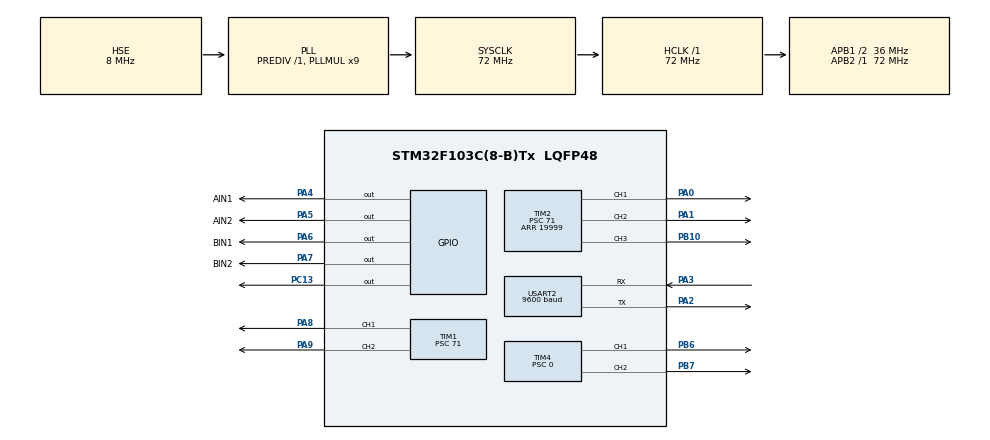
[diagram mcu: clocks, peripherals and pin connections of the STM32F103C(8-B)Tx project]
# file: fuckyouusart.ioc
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Mcu.Family=STM32F1
Mcu.Name=STM32F103C(8-B)Tx
Mcu.Package=LQFP48
NVIC.PriorityGroup=NVIC_PRIORITYGROUP_4
NVIC.USART2_IRQn=true\:0\:0\:false\:false\:true\:true\:true\:true
PA0-WKUP.Signal=S_TIM2_CH1_ETR
PA1.Signal=S_TIM2_CH2
PA13.Mode=Serial_Wire
PA13.Signal=SYS_JTMS-SWDIO
PA14.Mode=Serial_Wire
PA14.Signal=SYS_JTCK-SWCLK
PA2.Mode=Asynchronous
PA2.Signal=USART2_TX
PA3.Mode=Asynchronous
PA3.Signal=USART2_RX
PA4.GPIO_Label=AIN1
PA4.Signal=GPIO_Output
PA5.GPIO_Label=AIN2
PA5.Signal=GPIO_Output
PA6.GPIO_Label=BIN1
PA6.Signal=GPIO_Output
PA7.GPIO_Label=BIN2
PA7.Signal=GPIO_Output
PA8.Signal=S_TIM1_CH1
PA9.Signal=S_TIM1_CH2
PB10.Signal=S_TIM2_CH3
PB6.Signal=S_TIM4_CH1
PB7.Signal=S_TIM4_CH2
PC13-TAMPER-RTC.Signal=GPIO_Output
PD0-OSC_IN.Mode=HSE-External-Oscillator
PD0-OSC_IN.Signal=RCC_OSC_IN
PD1-OSC_OUT.Mode=HSE-External-Oscillator
PD1-OSC_OUT.Signal=RCC_OSC_OUT
ProjectManager.HeapSize=0x200
ProjectManager.StackSize=0x400
ProjectManager.TargetToolchain=CMake
RCC.AHBFreq_Value=72000000
RCC.APB1CLKDivider=RCC_HCLK_DIV2
RCC.APB1Freq_Value=36000000
RCC.APB1TimFreq_Value=72000000
RCC.APB2Freq_Value=72000000
RCC.APB2TimFreq_Value=72000000
RCC.HCLKFreq_Value=72000000
RCC.PLLMUL=RCC_PLL_MUL9
RCC.PLLSourceVirtual=RCC_PLLSOURCE_HSE
RCC.SYSCLKFreq_VALUE=72000000
RCC.SYSCLKSource=RCC_SYSCLKSOURCE_PLLCLK
RCC.USBFreq_Value=72000000
SH.S_TIM1_CH1.0=TIM1_CH1,PWM Generation1 CH1
SH.S_TIM1_CH2.0=TIM1_CH2,PWM Generation2 CH2
SH.S_TIM2_CH1_ETR.0=TIM2_CH1,PWM Generation1 CH1
SH.S_TIM2_CH2.0=TIM2_CH2,PWM Generation2 CH2
SH.S_TIM2_CH3.0=TIM2_CH3,PWM Generation3 CH3
SH.S_TIM4_CH1.0=TIM4_CH1,PWM Generation1 CH1
SH.S_TIM4_CH2.0=TIM4_CH2,PWM Generation2 CH2
TIM1.Channel-PWM\ Generation1\ CH1=TIM_CHANNEL_1
TIM1.Channel-PWM\ Generation2\ CH2=TIM_CHANNEL_2
TIM1.Period=19999
TIM1.Prescaler=71
TIM2.Channel-PWM\ Generation1\ CH1=TIM_CHANNEL_1
TIM2.Channel-PWM\ Generation2\ CH2=TIM_CHANNEL_2
TIM2.Channel-PWM\ Generation3\ CH3=TIM_CHANNEL_3
TIM2.Period=19999
TIM2.Prescaler=71
TIM4.Channel-PWM\ Generation1\ CH1=TIM_CHANNEL_1
TIM4.Channel-PWM\ Generation2\ CH2=TIM_CHANNEL_2
TIM4.Period=7199
TIM4.Prescaler=0
USART2.BaudRate=9600
USART2.VirtualMode=VM_ASYNC
VP_TIM1_VS_ClockSourceINT.Mode=Internal
VP_TIM2_VS_ClockSourceINT.Mode=Internal
VP_TIM4_VS_ClockSourceINT.Mode=Internal
board=custom

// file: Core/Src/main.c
/* USER CODE BEGIN Header */
/**
  ******************************************************************************
  * @file           : main.c
  * @brief          : Main program body
  ******************************************************************************
  * @attention
  *
  * Copyright (c) 2026 STMicroelectronics.
  * All rights reserved.
  *
  * This software is licensed under terms that can be found in the LICENSE file
  * in the root directory of this software component.
  * If no LICENSE file comes with this software, it is provided AS-IS.
  *
  ******************************************************************************
  */
/* USER CODE END Header */
#include "main.h"
#include "tim.h"
#include "usart.h"
#include "gpio.h"

/* USER CODE BEGIN PV */

#include <stdio.h>
#include <string.h>

#include "servotext_boteer.h"   // 你的舵机头文件
#include "servotext_boteer.c"
#include "motortext_boteer.h"

#define RX_RING_SIZE 128                // 环形缓冲区大小
uint8_t rx_ring[RX_RING_SIZE];          // 环形缓冲区
volatile uint16_t rx_ring_head = 0;      // 写指针（中断中更新）
volatile uint16_t rx_ring_tail = 0;      // 读指针（主循环中更新）
uint8_t rx_byte;                         // 单字节接收缓存（用于中断）

//原有的 rx_buffer 现在用作行缓冲区，不再直接参与接收，rx_index 和 rx_complete_flag 继续保留，用法不变
#define RX_BUFFER_SIZE  64      // 接收缓冲区大小
uint8_t rx_buffer[RX_BUFFER_SIZE];      // 串口接收缓冲区
uint8_t rx_index = 0;                  // 当前接收位置
uint8_t rx_complete_flag = 0;          // 收到一帧完成标志

ServoMotor servo1;    //TIM1 CH1  引脚PA8
ServoMotor servo2;    //TIM1 CH2  引脚PA9
ServoMotor servo3;    //TIM2 CH1  引脚PA0
ServoMotor servo4;    //TIM2 CH2  引脚PA1
ServoMotor servo5;    //TIM2 CH3  引脚PB10

Motor my_motor;

#ifdef __GNUC__
#define PUTCHAR_PROTOTYPE int __io_putchar(int ch)
#else
#define PUTCHAR_PROTOTYPE int fputc(int ch, FILE *f)
#endif
PUTCHAR_PROTOTYPE {
  HAL_UART_Transmit(&huart2, (uint8_t *)&ch, 1, HAL_MAX_DELAY);
  return ch;
}

/* USER CODE END PV */

void SystemClock_Config(void);

/* USER CODE BEGIN 0 */

//改版添加了行提取函数
static uint8_t GetLineFromRing(char *line_buf, uint16_t max_len)
{
  static uint16_t idx = 0;  // 当前行缓冲区索引

  while (rx_ring_tail != rx_ring_head)
  {
    uint8_t ch = rx_ring[rx_ring_tail];
    rx_ring_tail = (rx_ring_tail + 1) % RX_RING_SIZE;

    // 遇到换行符或缓冲区满，认为一行结束
    if (ch == '\n' || ch == '\r' || idx >= max_len - 1)
    {
      // 忽略空行（只有换行符）
      if (idx == 0)
      {
        continue;
      }
      line_buf[idx] = '\0';  // 字符串结束
      idx = 0;
      return 1;  // 一行就绪
    }
    else
    {
      line_buf[idx++] = ch;  // 存入行缓冲区
    }
  }
  return 0;  // 没有完整行
}

void Parse_Command(char *cmd, uint16_t len)
{
  // 去除末尾换行
  if (len > 0 && (cmd[len-1] == '\n' || cmd[len-1] == '\r')) cmd[len-1] = '\0';
  if (len > 1 && cmd[len-2] == '\r') cmd[len-2] = '\0';

  printf("Received: [%s]\r\n", cmd);

  int left, right;int id, angle;
  if (sscanf(cmd, "#M%d,%d", &left, &right) == 2) {
    Motor_SetSpeed(&my_motor, (int16_t)left, (int16_t)right);
    printf("Motor set: L=%d, R=%d\r\n", left, right);
  }
   else if (sscanf(cmd, "#%d=%d", &id, &angle) == 2)
  {
    if (id >= 1 && id <= 5 && angle >= 0 && angle <= 180)
    {
      // 根据id选择对应的舵机
      switch (id)
      {
      case 1: Servo_SetAngle(&servo1, angle); break;
      case 2: Servo_SetAngle(&servo2, angle); break;
      case 3: Servo_SetAngle(&servo3, angle); break;
      case 4: Servo_SetAngle(&servo4, angle); break;
      case 5: Servo_SetAngle(&servo5, angle); break;
      default: break;
      }
      printf("OK: Servo%d set to %d\r\n", id, angle);
    }
    else
    {
      printf("Error: ID must be 1-5, angle 0-180\r\n");
    }
  }
  else
  {
    printf("Unknown command. Use #<id>=<angle> (e.g. #1=90)\r\n");
  }
}

/* USER CODE END 0 */

int main(void)
{

  /* MCU Configuration--------------------------------------------------------*/

  /* Reset of all peripherals, Initializes the Flash interface and the Systick. */
  HAL_Init();

  /* Configure the system clock */
  SystemClock_Config();

  /* Initialize all configured peripherals */
  MX_GPIO_Init();
  MX_TIM1_Init();
  MX_USART2_UART_Init();
  MX_TIM2_Init();
  MX_TIM4_Init();
  /* USER CODE BEGIN 2 */

  Servo_Init(&servo1, &htim1, TIM_CHANNEL_1);
  Servo_Init(&servo2, &htim1, TIM_CHANNEL_2);
  Servo_Init(&servo3, &htim2, TIM_CHANNEL_1);
  Servo_Init(&servo4, &htim2, TIM_CHANNEL_2);
  Servo_Init(&servo5, &htim2, TIM_CHANNEL_3);

  //Servo_SetSpeed(&my_servo, 50.0f);
  Servo_SetSpeed(&servo1, 50.0f);
  Servo_SetSpeed(&servo2, 50.0f);
  Servo_SetSpeed(&servo3, 50.0f);
  Servo_SetSpeed(&servo4, 50.0f);
  Servo_SetSpeed(&servo5, 50.0f);

  Motor_Init(&my_motor,
           &htim4, TIM_CHANNEL_1,    // 左PWM
           GPIOA, GPIO_PIN_4,         // AIN1
           GPIOA, GPIO_PIN_5,         // AIN2
           &htim4, TIM_CHANNEL_2,    // 右PWM
           GPIOA, GPIO_PIN_6,         // BIN1
           GPIOA, GPIO_PIN_7);        // BIN2

  // 设置加速度（可选，默认为2.0）
  Motor_SetAccel(&my_motor, 1.5f);

  HAL_UART_Receive_IT(&huart2, &rx_byte, 1);

  printf("System Ready. 5 servos initialized.\r\n");
  printf("\r\n====波特儿 Servo Control System====\r\n");
  printf("   等待输入指令中...............\r\n");
  printf("   输入格式:ANGLE=xxx (0-180)\r\n");
  printf(" ==========祝你调试顺利===========\r\n");

  uint32_t last_time = HAL_GetTick();
  int test_state = 0;  // 0:正转, 1:反转, 2:停止

  /* USER CODE END 2 */

  /* Infinite loop */
  /* USER CODE BEGIN WHILE */
  while (1)
  {

    Servo_Update(&servo1);
    Servo_Update(&servo2);
    Servo_Update(&servo3);
    Servo_Update(&servo4);
    Servo_Update(&servo5);

    Motor_Update(&my_motor);

    // 【新增】从环形缓冲区读取一行，存入 rx_buffer
    if (GetLineFromRing((char *)rx_buffer, RX_BUFFER_SIZE))
    {
      rx_index = strlen((char *)rx_buffer);  // 计算实际长度
      rx_complete_flag = 1;                   // 触发解析
    }

    if (rx_complete_flag)
    {
      Parse_Command((char *)rx_buffer, rx_index);

      memset(rx_buffer, 0, RX_BUFFER_SIZE);
      rx_index = 0;
      rx_complete_flag = 0;

      // 重新开启接收
      //改版部分该部分代码已被删除，接受将由环形缓冲区持续处理
      //HAL_UART_Receive_IT(&huart2, rx_buffer, 1);
    }

    /* USER CODE END WHILE */

  }
}

void SystemClock_Config(void)
{
  RCC_OscInitTypeDef RCC_OscInitStruct = {0};
  RCC_ClkInitTypeDef RCC_ClkInitStruct = {0};

  /** Initializes the RCC Oscillators according to the specified parameters
  * in the RCC_OscInitTypeDef structure.
  */
  RCC_OscInitStruct.OscillatorType = RCC_OSCILLATORTYPE_HSE;
  RCC_OscInitStruct.HSEState = RCC_HSE_ON;
  RCC_OscInitStruct.HSEPredivValue = RCC_HSE_PREDIV_DIV1;
  RCC_OscInitStruct.HSIState = RCC_HSI_ON;
  RCC_OscInitStruct.PLL.PLLState = RCC_PLL_ON;
  RCC_OscInitStruct.PLL.PLLSource = RCC_PLLSOURCE_HSE;
  RCC_OscInitStruct.PLL.PLLMUL = RCC_PLL_MUL9;
  if (HAL_RCC_OscConfig(&RCC_OscInitStruct) != HAL_OK)
  {
    Error_Handler();
  }

  /** Initializes the CPU, AHB and APB buses clocks
  */
  RCC_ClkInitStruct.ClockType = RCC_CLOCKTYPE_HCLK|RCC_CLOCKTYPE_SYSCLK
                              |RCC_CLOCKTYPE_PCLK1|RCC_CLOCKTYPE_PCLK2;
  RCC_ClkInitStruct.SYSCLKSource = RCC_SYSCLKSOURCE_PLLCLK;
  RCC_ClkInitStruct.AHBCLKDivider = RCC_SYSCLK_DIV1;
  RCC_ClkInitStruct.APB1CLKDivider = RCC_HCLK_DIV2;
  RCC_ClkInitStruct.APB2CLKDivider = RCC_HCLK_DIV1;

  if (HAL_RCC_ClockConfig(&RCC_ClkInitStruct, FLASH_LATENCY_2) != HAL_OK)
  {
    Error_Handler();
  }
}

/* USER CODE BEGIN 4 */

void HAL_UART_RxCpltCallback(UART_HandleTypeDef *huart)
{
  if (huart->Instance == USART2)
  {
    // 将字节存入环形缓冲区（如果未满）
    uint16_t next_head = (rx_ring_head + 1) % RX_RING_SIZE;
    if (next_head != rx_ring_tail)
    {
      rx_ring[rx_ring_head] = rx_byte;
      rx_ring_head = next_head;
    }
    // 重新启动接收（使用 rx_byte 作为缓存）
    HAL_UART_Receive_IT(huart, &rx_byte, 1);
  }
}

void HAL_UART_ErrorCallback(UART_HandleTypeDef *huart)
{
  if (huart->Instance == USART2)
  {
    __HAL_UART_CLEAR_OREFLAG(huart);
    __HAL_UART_CLEAR_NEFLAG(huart);
    __HAL_UART_CLEAR_FEFLAG(huart);
    HAL_UART_Receive_IT(huart, &rx_byte, 1);
  }
}

/* USER CODE END 4 */

void Error_Handler(void)
{
  __disable_irq();
  while (1)
  {
  }
}
